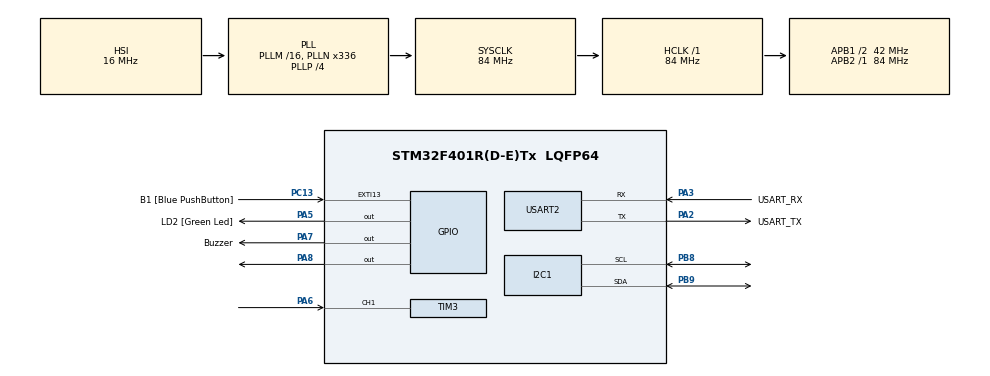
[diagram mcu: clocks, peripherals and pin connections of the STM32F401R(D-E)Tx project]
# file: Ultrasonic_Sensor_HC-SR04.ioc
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Mcu.Family=STM32F4
Mcu.Name=STM32F401R(D-E)Tx
Mcu.Package=LQFP64
NVIC.PriorityGroup=NVIC_PRIORITYGROUP_4
NVIC.TIM3_IRQn=true\:0\:0\:false\:false\:true\:true\:true\:true
PA13.GPIO_Label=TMS
PA13.Mode=Trace_Asynchronous_SW
PA13.Signal=SYS_JTMS-SWDIO
PA14.GPIO_Label=TCK
PA14.Mode=Trace_Asynchronous_SW
PA14.Signal=SYS_JTCK-SWCLK
PA2.GPIO_Label=USART_TX
PA2.GPIO_Mode=GPIO_MODE_AF_PP
PA2.GPIO_PuPd=GPIO_NOPULL
PA2.GPIO_Speed=GPIO_SPEED_FREQ_LOW
PA2.Mode=Asynchronous
PA2.Signal=USART2_TX
PA3.GPIO_Label=USART_RX
PA3.GPIO_Mode=GPIO_MODE_AF_PP
PA3.GPIO_PuPd=GPIO_NOPULL
PA3.GPIO_Speed=GPIO_SPEED_FREQ_LOW
PA3.Mode=Asynchronous
PA3.Signal=USART2_RX
PA5.GPIO_Label=LD2 [Green Led]
PA5.GPIO_Mode=GPIO_MODE_OUTPUT_PP
PA5.GPIO_PuPd=GPIO_NOPULL
PA5.GPIO_Speed=GPIO_SPEED_FREQ_LOW
PA5.Signal=GPIO_Output
PA6.Signal=S_TIM3_CH1
PA7.GPIO_Label=Buzzer
PA7.Signal=GPIO_Output
PA8.Signal=GPIO_Output
PB3.GPIO_Label=SWO
PB3.Mode=Trace_Asynchronous_SW
PB3.Signal=SYS_JTDO-SWO
PB8.Mode=I2C
PB8.Signal=I2C1_SCL
PB9.Mode=I2C
PB9.Signal=I2C1_SDA
PC13-ANTI_TAMP.GPIO_Label=B1 [Blue PushButton]
PC13-ANTI_TAMP.GPIO_ModeDefaultEXTI=GPIO_MODE_IT_FALLING
PC13-ANTI_TAMP.GPIO_PuPd=GPIO_NOPULL
PC13-ANTI_TAMP.Signal=GPXTI13
PC14-OSC32_IN.Mode=LSE-External-Oscillator
PC14-OSC32_IN.Signal=RCC_OSC32_IN
PC15-OSC32_OUT.Mode=LSE-External-Oscillator
PC15-OSC32_OUT.Signal=RCC_OSC32_OUT
PH0\ -\ OSC_IN.Mode=HSE-External-Clock-Source
PH0\ -\ OSC_IN.Signal=RCC_OSC_IN
PH1\ -\ OSC_OUT.Mode=HSE-External-Clock-Source
PH1\ -\ OSC_OUT.Signal=RCC_OSC_OUT
ProjectManager.HeapSize=0x200
ProjectManager.StackSize=0x400
ProjectManager.TargetToolchain=STM32CubeIDE
RCC.48MHZClocksFreq_Value=48000000
RCC.AHBFreq_Value=84000000
RCC.APB1CLKDivider=RCC_HCLK_DIV2
RCC.APB1Freq_Value=42000000
RCC.APB1TimFreq_Value=84000000
RCC.APB2Freq_Value=84000000
RCC.APB2TimFreq_Value=84000000
RCC.CortexFreq_Value=84000000
RCC.HCLKFreq_Value=84000000
RCC.HSE_VALUE=8000000
RCC.HSI_VALUE=16000000
RCC.PLLN=336
RCC.PLLP=RCC_PLLP_DIV4
RCC.PLLQ=7
RCC.SYSCLKFreq_VALUE=84000000
RCC.SYSCLKSource=RCC_SYSCLKSOURCE_PLLCLK
RCC.VCOOutputFreq_Value=336000000
SH.S_TIM3_CH1.0=TIM3_CH1,Input_Capture1_from_TI1
TIM3.Channel-Input_Capture1_from_TI1=TIM_CHANNEL_1
TIM3.Prescaler=83
USART2.VirtualMode=VM_ASYNC
VP_TIM3_VS_ClockSourceINT.Mode=Internal
board=NUCLEO-F401RE

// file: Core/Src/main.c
/* USER CODE BEGIN Header */
/**
  ******************************************************************************
  * @file           : main.c
  * @brief          : Main program body
  ******************************************************************************
  * @attention
  *
  * Copyright (c) 2026 STMicroelectronics.
  * All rights reserved.
  *
  * This software is licensed under terms that can be found in the LICENSE file
  * in the root directory of this software component.
  * If no LICENSE file comes with this software, it is provided AS-IS.
  *
  ******************************************************************************
  */
/* USER CODE END Header */
#include "main.h"

/* USER CODE BEGIN Includes */
#include <stdio.h>
#include "ssd1306.h"
#include "ssd1306_fonts.h"
/* USER CODE END Includes */

/* USER CODE BEGIN PD */
#define WARNING_DISTANCE_CM   20U
#define CRITICAL_DISTANCE_CM  10U
/* USER CODE END PD */

I2C_HandleTypeDef hi2c1;

TIM_HandleTypeDef htim3;

UART_HandleTypeDef huart2;

/* USER CODE BEGIN PV */

/* HC-SR04 measurement variables */
volatile uint32_t echoRise = 0;
volatile uint32_t echoFall = 0;
volatile uint32_t echoTimeUs = 0;

volatile uint8_t firstCapture = 0;
volatile uint8_t measurementReady = 0;

char uartBuffer[100];
char oledBuffer[30];

/* Non-blocking intermittent buzzer control */
uint32_t previousBuzzerTime = 0U;
uint8_t buzzerState = 0U;

/* USER CODE END PV */

void SystemClock_Config(void);
static void MX_GPIO_Init(void);
static void MX_TIM3_Init(void);
static void MX_USART2_UART_Init(void);
static void MX_I2C1_Init(void);

/* USER CODE BEGIN 0 */
/* Initialize Cortex-M4 cycle counter for microsecond delays */
static void DWT_Delay_Init(void)
{
    CoreDebug->DEMCR |= CoreDebug_DEMCR_TRCENA_Msk;
    DWT->CYCCNT = 0;
    DWT->CTRL |= DWT_CTRL_CYCCNTENA_Msk;
}

/* Blocking delay in microseconds */
static void Delay_us(uint32_t microseconds)
{
    uint32_t start = DWT->CYCCNT;
    uint32_t ticks = microseconds * (SystemCoreClock / 1000000U);

    while ((DWT->CYCCNT - start) < ticks)
    {
        /* Wait */
    }
}

/* Send a 10 µs pulse through PA8 to start a measurement */
static void HCSR04_Trigger(void)
{
    measurementReady = 0U;
    firstCapture = 0U;

    /* First detect the rising edge of ECHO */
    __HAL_TIM_SET_CAPTUREPOLARITY(
        &htim3,
        TIM_CHANNEL_1,
        TIM_INPUTCHANNELPOLARITY_RISING
    );

    HAL_GPIO_WritePin(GPIOA, GPIO_PIN_8, GPIO_PIN_RESET);
    Delay_us(2);

    HAL_GPIO_WritePin(GPIOA, GPIO_PIN_8, GPIO_PIN_SET);
    Delay_us(10);

    HAL_GPIO_WritePin(GPIOA, GPIO_PIN_8, GPIO_PIN_RESET);
}

/*
 * Parking-assistance buzzer:
 *
 * Distance < 10 cm:
 *     Continuous beep.
 *
 * Distance from 10 cm to below 20 cm:
 *     Intermittent beep.
 *
 * Distance >= 20 cm:
 *     Buzzer OFF.
 *
 * This buzzer is active-low:
 * GPIO RESET = ON
 * GPIO SET   = OFF
 */
static void Parking_Buzzer_Update(uint32_t distanceCm)
{
    uint32_t currentTime = HAL_GetTick();

    if (distanceCm < CRITICAL_DISTANCE_CM)
    {
        /* Below 10 cm: continuous beep */
        buzzerState = 1U;

        HAL_GPIO_WritePin(
            Buzzer_GPIO_Port,
            Buzzer_Pin,
            GPIO_PIN_RESET
        );
    }
    else if (distanceCm < WARNING_DISTANCE_CM)
    {
        /* From 10 cm to below 20 cm: intermittent beep */
        if ((currentTime - previousBuzzerTime) >= 200U)
        {
            previousBuzzerTime = currentTime;
            buzzerState = !buzzerState;

            HAL_GPIO_WritePin(
                Buzzer_GPIO_Port,
                Buzzer_Pin,
                buzzerState ? GPIO_PIN_RESET : GPIO_PIN_SET
            );
        }
    }
    else
    {
        /* 20 cm or farther: buzzer off */
        buzzerState = 0U;

        HAL_GPIO_WritePin(
            Buzzer_GPIO_Port,
            Buzzer_Pin,
            GPIO_PIN_SET
        );
    }
}

/* USER CODE END 0 */

int main(void)
{

  /* MCU Configuration--------------------------------------------------------*/

  /* Reset of all peripherals, Initializes the Flash interface and the Systick. */
  HAL_Init();

  /* Configure the system clock */
  SystemClock_Config();

  /* Initialize all configured peripherals */
  MX_GPIO_Init();
  MX_TIM3_Init();
  MX_USART2_UART_Init();
  MX_I2C1_Init();
  /* USER CODE BEGIN 2 */

  /* Enable microsecond delay */
  DWT_Delay_Init();

  /* Start TIM3 Channel 1 input capture interrupt */
  HAL_TIM_IC_Start_IT(&htim3, TIM_CHANNEL_1);

  /* Active-low buzzer: HIGH means OFF */
  HAL_GPIO_WritePin(
      Buzzer_GPIO_Port,
      Buzzer_Pin,
      GPIO_PIN_SET
  );

  /* Initialize and clear OLED */
  ssd1306_Init();
  ssd1306_Fill(Black);
  ssd1306_UpdateScreen();

  /* Show startup message briefly */
  ssd1306_SetCursor(5, 5);
  ssd1306_WriteString("HC-SR04", Font_11x18, White);

  ssd1306_SetCursor(5, 35);
  ssd1306_WriteString("Starting...", Font_7x10, White);

  ssd1306_UpdateScreen();
  HAL_Delay(1000);

  /* Terminal startup message */
  const char startMessage[] =
      "\r\nHC-SR04 measurement started\r\n";

  HAL_UART_Transmit(
      &huart2,
      (uint8_t *)startMessage,
      sizeof(startMessage) - 1U,
      HAL_MAX_DELAY
  );

  /* USER CODE END 2 */

  /* Infinite loop */
  /* USER CODE BEGIN WHILE */
  while (1)
  {
	  /* Start one ultrasonic measurement */
	      HCSR04_Trigger();

	      uint32_t timeoutStart = HAL_GetTick();

	      /* Wait until both ECHO edges are captured or timeout occurs */
	      while ((measurementReady == 0U) &&
	             ((HAL_GetTick() - timeoutStart) < 50U))
	      {
	          /* TIM3 interrupt updates measurementReady */
	      }

	      if (measurementReady != 0U)
	      {
	          /* Convert ECHO pulse duration into distance */
	          uint32_t distanceMm = (echoTimeUs * 10U) / 58U;
	          uint32_t wholeCm = distanceMm / 10U;
	          uint32_t decimalCm = distanceMm % 10U;

	          /* Control parking-assistance buzzer */
	          Parking_Buzzer_Update(wholeCm);

	          /* Print measurement in terminal */
	          int length = snprintf(
	              uartBuffer,
	              sizeof(uartBuffer),
	              "Echo: %lu us | Distance: %lu.%lu cm\r\n",
	              (unsigned long)echoTimeUs,
	              (unsigned long)wholeCm,
	              (unsigned long)decimalCm
	          );

	          if (length > 0)
	          {
	              HAL_UART_Transmit(
	                  &huart2,
	                  (uint8_t *)uartBuffer,
	                  (uint16_t)length,
	                  HAL_MAX_DELAY
	              );
	          }

	          /* Prepare distance text for OLED */
	          snprintf(
	              oledBuffer,
	              sizeof(oledBuffer),
	              "%lu.%lu cm",
	              (unsigned long)wholeCm,
	              (unsigned long)decimalCm
	          );

	          /* Clear OLED before writing new information */
	          ssd1306_Fill(Black);

	          if (wholeCm < CRITICAL_DISTANCE_CM)
	          {
	              /* Below 25 cm: continuous beep */
	              ssd1306_SetCursor(5, 2);
	              ssd1306_WriteString(
	                  "STOP!",
	                  Font_11x18,
	                  White
	              );

	              ssd1306_SetCursor(5, 25);
	              ssd1306_WriteString(
	                  "Obstacle",
	                  Font_7x10,
	                  White
	              );

	              ssd1306_SetCursor(5, 43);
	              ssd1306_WriteString(
	                  oledBuffer,
	                  Font_7x10,
	                  White
	              );
	          }
	          else if (wholeCm < WARNING_DISTANCE_CM)
	          {
	              /* From 25 cm to below 50 cm: intermittent beep */
	              ssd1306_SetCursor(5, 2);
	              ssd1306_WriteString(
	                  "WARNING",
	                  Font_11x18,
	                  White
	              );

	              ssd1306_SetCursor(5, 27);
	              ssd1306_WriteString(
	                  "Obstacle detected",
	                  Font_7x10,
	                  White
	              );

	              ssd1306_SetCursor(5, 45);
	              ssd1306_WriteString(
	                  oledBuffer,
	                  Font_7x10,
	                  White
	              );
	          }
	          else
	          {
	              /* 50 cm or farther: buzzer off */
	              ssd1306_SetCursor(5, 5);
	              ssd1306_WriteString(
	                  "Distance:",
	                  Font_7x10,
	                  White
	              );

	              ssd1306_SetCursor(5, 25);
	              ssd1306_WriteString(
	                  oledBuffer,
	                  Font_11x18,
	                  White
	              );
	          }

	          ssd1306_UpdateScreen();

	          /* Prepare input capture for the next measurement */
	          firstCapture = 0U;

	          __HAL_TIM_SET_CAPTUREPOLARITY(
	              &htim3,
	              TIM_CHANNEL_1,
	              TIM_INPUTCHANNELPOLARITY_RISING
	          );
	      }
	      else
	      {
	    	  /* No measurement: switch active-low buzzer off */
	    	  HAL_GPIO_WritePin(
	    	      Buzzer_GPIO_Port,
	    	      Buzzer_Pin,
	    	      GPIO_PIN_SET
	    	  );

	          /* Print timeout in terminal */
	          const char timeoutMessage[] =
	              "Timeout: no echo received\r\n";

	          HAL_UART_Transmit(
	              &huart2,
	              (uint8_t *)timeoutMessage,
	              sizeof(timeoutMessage) - 1U,
	              HAL_MAX_DELAY
	          );

	          /* Show error on OLED */
	          ssd1306_Fill(Black);

	          ssd1306_SetCursor(5, 10);
	          ssd1306_WriteString(
	              "No echo",
	              Font_11x18,
	              White
	          );

	          ssd1306_SetCursor(5, 35);
	          ssd1306_WriteString(
	              "Check sensor",
	              Font_7x10,
	              White
	          );

	          ssd1306_UpdateScreen();

	          /* Prepare input capture for the next measurement */
	          firstCapture = 0U;

	          __HAL_TIM_SET_CAPTUREPOLARITY(
	              &htim3,
	              TIM_CHANNEL_1,
	              TIM_INPUTCHANNELPOLARITY_RISING
	          );
	      }

	      /* Wait before triggering the HC-SR04 again */
	      HAL_Delay(100);

    /* USER CODE END WHILE */

  }
}

void SystemClock_Config(void)
{
  RCC_OscInitTypeDef RCC_OscInitStruct = {0};
  RCC_ClkInitTypeDef RCC_ClkInitStruct = {0};

  /** Configure the main internal regulator output voltage
  */
  __HAL_RCC_PWR_CLK_ENABLE();
  __HAL_PWR_VOLTAGESCALING_CONFIG(PWR_REGULATOR_VOLTAGE_SCALE2);

  /** Initializes the RCC Oscillators according to the specified parameters
  * in the RCC_OscInitTypeDef structure.
  */
  RCC_OscInitStruct.OscillatorType = RCC_OSCILLATORTYPE_HSI;
  RCC_OscInitStruct.HSIState = RCC_HSI_ON;
  RCC_OscInitStruct.HSICalibrationValue = RCC_HSICALIBRATION_DEFAULT;
  RCC_OscInitStruct.PLL.PLLState = RCC_PLL_ON;
  RCC_OscInitStruct.PLL.PLLSource = RCC_PLLSOURCE_HSI;
  RCC_OscInitStruct.PLL.PLLM = 16;
  RCC_OscInitStruct.PLL.PLLN = 336;
  RCC_OscInitStruct.PLL.PLLP = RCC_PLLP_DIV4;
  RCC_OscInitStruct.PLL.PLLQ = 7;
  if (HAL_RCC_OscConfig(&RCC_OscInitStruct) != HAL_OK)
  {
    Error_Handler();
  }

  /** Initializes the CPU, AHB and APB buses clocks
  */
  RCC_ClkInitStruct.ClockType = RCC_CLOCKTYPE_HCLK|RCC_CLOCKTYPE_SYSCLK
                              |RCC_CLOCKTYPE_PCLK1|RCC_CLOCKTYPE_PCLK2;
  RCC_ClkInitStruct.SYSCLKSource = RCC_SYSCLKSOURCE_PLLCLK;
  RCC_ClkInitStruct.AHBCLKDivider = RCC_SYSCLK_DIV1;
  RCC_ClkInitStruct.APB1CLKDivider = RCC_HCLK_DIV2;
  RCC_ClkInitStruct.APB2CLKDivider = RCC_HCLK_DIV1;

  if (HAL_RCC_ClockConfig(&RCC_ClkInitStruct, FLASH_LATENCY_2) != HAL_OK)
  {
    Error_Handler();
  }
}

static void MX_I2C1_Init(void)
{

  hi2c1.Instance = I2C1;
  hi2c1.Init.ClockSpeed = 100000;
  hi2c1.Init.DutyCycle = I2C_DUTYCYCLE_2;
  hi2c1.Init.OwnAddress1 = 0;
  hi2c1.Init.AddressingMode = I2C_ADDRESSINGMODE_7BIT;
  hi2c1.Init.DualAddressMode = I2C_DUALADDRESS_DISABLE;
  hi2c1.Init.OwnAddress2 = 0;
  hi2c1.Init.GeneralCallMode = I2C_GENERALCALL_DISABLE;
  hi2c1.Init.NoStretchMode = I2C_NOSTRETCH_DISABLE;
  if (HAL_I2C_Init(&hi2c1) != HAL_OK)
  {
    Error_Handler();
  }

}

static void MX_TIM3_Init(void)
{

  TIM_ClockConfigTypeDef sClockSourceConfig = {0};
  TIM_MasterConfigTypeDef sMasterConfig = {0};
  TIM_IC_InitTypeDef sConfigIC = {0};

  htim3.Instance = TIM3;
  htim3.Init.Prescaler = 83;
  htim3.Init.CounterMode = TIM_COUNTERMODE_UP;
  htim3.Init.Period = 65535;
  htim3.Init.ClockDivision = TIM_CLOCKDIVISION_DIV1;
  htim3.Init.AutoReloadPreload = TIM_AUTORELOAD_PRELOAD_DISABLE;
  if (HAL_TIM_Base_Init(&htim3) != HAL_OK)
  {
    Error_Handler();
  }
  sClockSourceConfig.ClockSource = TIM_CLOCKSOURCE_INTERNAL;
  if (HAL_TIM_ConfigClockSource(&htim3, &sClockSourceConfig) != HAL_OK)
  {
    Error_Handler();
  }
  if (HAL_TIM_IC_Init(&htim3) != HAL_OK)
  {
    Error_Handler();
  }
  sMasterConfig.MasterOutputTrigger = TIM_TRGO_RESET;
  sMasterConfig.MasterSlaveMode = TIM_MASTERSLAVEMODE_DISABLE;
  if (HAL_TIMEx_MasterConfigSynchronization(&htim3, &sMasterConfig) != HAL_OK)
  {
    Error_Handler();
  }
  sConfigIC.ICPolarity = TIM_INPUTCHANNELPOLARITY_RISING;
  sConfigIC.ICSelection = TIM_ICSELECTION_DIRECTTI;
  sConfigIC.ICPrescaler = TIM_ICPSC_DIV1;
  sConfigIC.ICFilter = 0;
  if (HAL_TIM_IC_ConfigChannel(&htim3, &sConfigIC, TIM_CHANNEL_1) != HAL_OK)
  {
    Error_Handler();
  }

}

static void MX_USART2_UART_Init(void)
{

  huart2.Instance = USART2;
  huart2.Init.BaudRate = 115200;
  huart2.Init.WordLength = UART_WORDLENGTH_8B;
  huart2.Init.StopBits = UART_STOPBITS_1;
  huart2.Init.Parity = UART_PARITY_NONE;
  huart2.Init.Mode = UART_MODE_TX_RX;
  huart2.Init.HwFlowCtl = UART_HWCONTROL_NONE;
  huart2.Init.OverSampling = UART_OVERSAMPLING_16;
  if (HAL_UART_Init(&huart2) != HAL_OK)
  {
    Error_Handler();
  }

}

static void MX_GPIO_Init(void)
{
  GPIO_InitTypeDef GPIO_InitStruct = {0};

  /* GPIO Ports Clock Enable */
  __HAL_RCC_GPIOC_CLK_ENABLE();
  __HAL_RCC_GPIOH_CLK_ENABLE();
  __HAL_RCC_GPIOA_CLK_ENABLE();
  __HAL_RCC_GPIOB_CLK_ENABLE();

  /*Configure GPIO pin Output Level */
  HAL_GPIO_WritePin(GPIOA, LD2_Pin|Buzzer_Pin|GPIO_PIN_8, GPIO_PIN_RESET);

  /*Configure GPIO pin : B1_Pin */
  GPIO_InitStruct.Pin = B1_Pin;
  GPIO_InitStruct.Mode = GPIO_MODE_IT_FALLING;
  GPIO_InitStruct.Pull = GPIO_NOPULL;
  HAL_GPIO_Init(B1_GPIO_Port, &GPIO_InitStruct);

  /*Configure GPIO pins : LD2_Pin Buzzer_Pin PA8 */
  GPIO_InitStruct.Pin = LD2_Pin|Buzzer_Pin|GPIO_PIN_8;
  GPIO_InitStruct.Mode = GPIO_MODE_OUTPUT_PP;
  GPIO_InitStruct.Pull = GPIO_NOPULL;
  GPIO_InitStruct.Speed = GPIO_SPEED_FREQ_LOW;
  HAL_GPIO_Init(GPIOA, &GPIO_InitStruct);

}

/* USER CODE BEGIN 4 */
/* Called whenever TIM3 captures an ECHO signal edge */
void HAL_TIM_IC_CaptureCallback(TIM_HandleTypeDef *htim)
{
    if ((htim->Instance == TIM3) &&
        (htim->Channel == HAL_TIM_ACTIVE_CHANNEL_1))
    {
        if (firstCapture == 0U)
        {
            /* Rising edge: ECHO pulse started */
            echoRise = HAL_TIM_ReadCapturedValue(
                htim,
                TIM_CHANNEL_1
            );

            firstCapture = 1U;

            /* Capture the falling edge next */
            __HAL_TIM_SET_CAPTUREPOLARITY(
                htim,
                TIM_CHANNEL_1,
                TIM_INPUTCHANNELPOLARITY_FALLING
            );
        }
        else
        {
            /* Falling edge: ECHO pulse ended */
            echoFall = HAL_TIM_ReadCapturedValue(
                htim,
                TIM_CHANNEL_1
            );

            /* Calculate pulse duration, including timer overflow */
            if (echoFall >= echoRise)
            {
                echoTimeUs = echoFall - echoRise;
            }
            else
            {
                echoTimeUs =
                    (65535U - echoRise) + echoFall + 1U;
            }

            measurementReady = 1U;
            firstCapture = 0U;

            /* Prepare for the next measurement */
            __HAL_TIM_SET_CAPTUREPOLARITY(
                htim,
                TIM_CHANNEL_1,
                TIM_INPUTCHANNELPOLARITY_RISING
            );
        }
    }
}
/* USER CODE END 4 */

void Error_Handler(void)
{
  __disable_irq();
  while (1)
  {
  }
}
